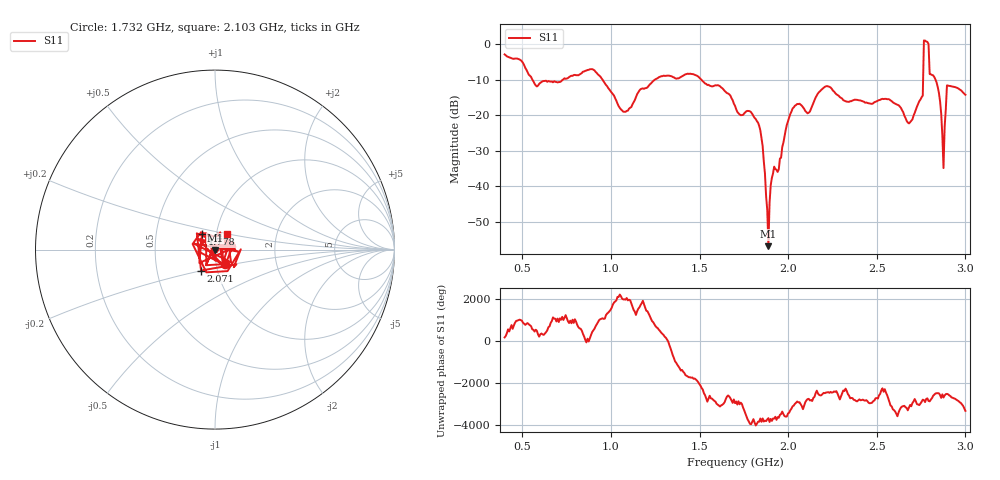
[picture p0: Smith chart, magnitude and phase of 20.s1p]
!Created with skrf (http://scikit-rf.org).
# Hz S RI R 50.0
!freq ReS11 ImS11
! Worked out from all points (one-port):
!   401 points, 400 MHz to 3 GHz, reference 50 ohm
!   lowest |S11| = -56.9 dB at 1.889 GHz (marker M1), VSWR 1.00, Z = 50 - j0.137 ohm
!   |S11| at or under -10 dB: 556.7 MHz to 729.5 MHz (172.8 MHz wide, 26.9 % of centre); 952.4 MHz to 1.249 GHz (296.1 MHz wide, 26.9 % of centre); 1.509 GHz to 2.761 GHz (1.252 GHz wide, 58.6 % of centre) (the widest 3 of 4)
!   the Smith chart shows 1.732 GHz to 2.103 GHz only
!   S11 on the Smith chart (normalised r, x): 1.732 GHz: 1.11, -0.18; 1.778 GHz: 0.85, +0.15; 2.071 GHz: 0.83, -0.20; 2.103 GHz: 1.12, +0.20
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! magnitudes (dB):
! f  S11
! 400 MHz  -2.9
! 582 MHz  -11.9
! 725 MHz  -10.1
! 900.5 MHz  -7.2
! 1.05 GHz  -18.0
! 1.271 GHz  -9.3
! 1.375 GHz  -9.6
! 1.609 GHz  -11.7
! 1.7 GHz  -17.4
! 1.732 GHz  -20.0
! 1.778 GHz  -18.8
! 1.843 GHz  -24.3
! 1.875 GHz  -42.9
! 1.889 GHz  -56.9
! 1.915 GHz  -36.4
! 2.025 GHz  -18.1
! 2.071 GHz  -17.1
! 2.103 GHz  -19.1
! 2.213 GHz  -11.9
! 2.35 GHz  -16.1
! 2.564 GHz  -15.5
! 2.675 GHz  -22.1
! 2.747 GHz  -15.6
! 2.779 GHz  0.7
! 2.844 GHz  -12.1
! 2.877 GHz  -34.9
! 2.909 GHz  -11.8
! 3 GHz  -14.3
